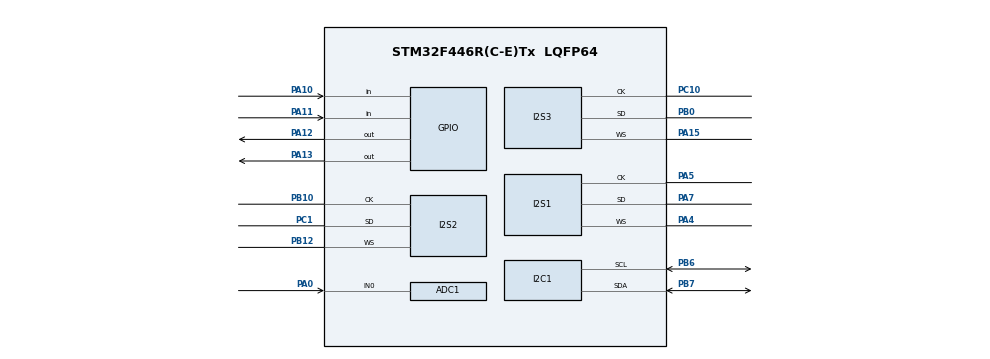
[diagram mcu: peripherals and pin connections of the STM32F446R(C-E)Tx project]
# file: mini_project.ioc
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ADC1.Channel-0\#ChannelRegularConversion=ADC_CHANNEL_0
ADC1.NbrOfConversionFlag=1
ADC1.Rank-0\#ChannelRegularConversion=1
ADC1.SamplingTime-0\#ChannelRegularConversion=ADC_SAMPLETIME_3CYCLES
ADC1.master=1
I2S1.ErrorAudioFreq=- %
I2S1.FullDuplexMode=I2S_FULLDUPLEXMODE_DISABLE
I2S1.Instance=SPI$Index
I2S1.RealAudioFreq=- Hz
I2S1.VirtualMode=I2S_MODE_MASTER
I2S2.ErrorAudioFreq=- %
I2S2.FullDuplexMode=I2S_FULLDUPLEXMODE_DISABLE
I2S2.Instance=SPI$Index
I2S2.RealAudioFreq=- Hz
I2S2.VirtualMode=I2S_MODE_MASTER
I2S3.ErrorAudioFreq=- %
I2S3.FullDuplexMode=I2S_FULLDUPLEXMODE_DISABLE
I2S3.Instance=SPI$Index
I2S3.RealAudioFreq=- Hz
I2S3.VirtualMode=I2S_MODE_MASTER
Mcu.Family=STM32F4
Mcu.Name=STM32F446R(C-E)Tx
Mcu.Package=LQFP64
NVIC.PriorityGroup=NVIC_PRIORITYGROUP_4
PA0-WKUP.Signal=ADCx_IN0
PA10.Signal=GPIO_Input
PA11.Signal=GPIO_Input
PA12.Signal=GPIO_Output
PA13.Signal=GPIO_Output
PA15.Mode=Half_Duplex_Master
PA15.Signal=I2S3_WS
PA4.Mode=Half_Duplex_Master
PA4.Signal=I2S1_WS
PA5.Mode=Half_Duplex_Master
PA5.Signal=I2S1_CK
PA7.Mode=Half_Duplex_Master
PA7.Signal=I2S1_SD
PB0.Mode=Half_Duplex_Master
PB0.Signal=I2S3_SD
PB10.Mode=Half_Duplex_Master
PB10.Signal=I2S2_CK
PB12.Mode=Half_Duplex_Master
PB12.Signal=I2S2_WS
PB6.Mode=I2C
PB6.Signal=I2C1_SCL
PB7.Mode=I2C
PB7.Signal=I2C1_SDA
PC1.Mode=Half_Duplex_Master
PC1.Signal=I2S2_SD
PC10.Mode=Half_Duplex_Master
PC10.Signal=I2S3_CK
PH0-OSC_IN.Mode=HSE-External-Oscillator
PH0-OSC_IN.Signal=RCC_OSC_IN
PH1-OSC_OUT.Mode=HSE-External-Oscillator
PH1-OSC_OUT.Signal=RCC_OSC_OUT
ProjectManager.HeapSize=0x200
ProjectManager.StackSize=0x400
ProjectManager.TargetToolchain=STM32CubeIDE
RCC.CortexFreq_Value=16000000
RCC.PLLSourceVirtual=RCC_PLLSOURCE_HSE
RCC.USBFreq_Value=150000000
RCC.VCOOutputFreq_Value=300000000
SH.ADCx_IN0.0=ADC1_IN0,IN0
board=custom

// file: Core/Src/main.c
/* USER CODE BEGIN Header */
/**
  ******************************************************************************
  * @file           : main.c
  * @brief          : Multi Sensor Safety System
  *
  * Sensors:
  * DHT11       -> PA12
  * MQ Sensor   -> PA0 / ADC1_IN0
  * Fire Sensor -> PA10
  * Ultrasonic  -> PA5 TRIG / PA4 ECHO
  *
  * OLED:
  * I2C1 SCL -> PB6
  * I2C1 SDA -> PB7
  *
  * Relay:
  * Relay -> PA13
  *
  * Relay Logic:
  * NORMAL -> Relay ON  -> COM-NO -> GREEN
  * DANGER -> Relay OFF -> COM-NC -> RED
  ******************************************************************************
  */
/* USER CODE END Header */
#include "main.h"

ADC_HandleTypeDef hadc1;

I2C_HandleTypeDef hi2c1;

I2S_HandleTypeDef hi2s1;
I2S_HandleTypeDef hi2s2;
I2S_HandleTypeDef hi2s3;

/* USER CODE BEGIN PV */

uint8_t dht_temperature = 0;
uint8_t dht_humidity = 0;

uint32_t mq_value = 0;

uint8_t fire_detected = 0;
uint8_t object_detected = 0;
uint8_t danger = 0;

uint32_t distance = 0;

/* USER CODE END PV */

void SystemClock_Config(void);
void PeriphCommonClock_Config(void);
static void MX_GPIO_Init(void);
static void MX_ADC1_Init(void);
static void MX_I2S1_Init(void);
static void MX_I2S2_Init(void);
static void MX_I2S3_Init(void);
static void MX_I2C1_Init(void);

/* USER CODE BEGIN 0 */

/* ============================================================
   MICROSECOND DELAY
   Simple delay using CPU cycles
   ============================================================ */

void delay_us(uint32_t us)
{
    uint32_t count;

    while(us--)
    {
        count = 16;

        while(count--)
        {
            __NOP();
        }
    }
}

/* ============================================================
   MQ GAS SENSOR
   PA0 -> ADC1_IN0
   ============================================================ */

uint32_t MQ_Read(void)
{
    uint32_t value;

    HAL_ADC_Start(&hadc1);

    HAL_ADC_PollForConversion(&hadc1, 100);

    value = HAL_ADC_GetValue(&hadc1);

    HAL_ADC_Stop(&hadc1);

    return value;
}

/* ============================================================
   DHT11
   PA12
   ============================================================ */

uint8_t DHT11_Read(uint8_t *temperature, uint8_t *humidity)
{
    uint8_t data[5] = {0};

    uint8_t i;
    uint8_t j;

    GPIO_InitTypeDef GPIO_InitStruct = {0};

    /* PA12 OUTPUT */

    GPIO_InitStruct.Pin = GPIO_PIN_12;
    GPIO_InitStruct.Mode = GPIO_MODE_OUTPUT_PP;
    GPIO_InitStruct.Pull = GPIO_PULLUP;
    GPIO_InitStruct.Speed = GPIO_SPEED_FREQ_LOW;

    HAL_GPIO_Init(GPIOA, &GPIO_InitStruct);

    /* Start signal */

    HAL_GPIO_WritePin(GPIOA, GPIO_PIN_12, GPIO_PIN_RESET);

    HAL_Delay(20);

    HAL_GPIO_WritePin(GPIOA, GPIO_PIN_12, GPIO_PIN_SET);

    delay_us(30);

    /* PA12 INPUT */

    GPIO_InitStruct.Pin = GPIO_PIN_12;
    GPIO_InitStruct.Mode = GPIO_MODE_INPUT;
    GPIO_InitStruct.Pull = GPIO_PULLUP;

    HAL_GPIO_Init(GPIOA, &GPIO_InitStruct);

    /* Wait for DHT11 response */

    uint32_t timeout = HAL_GetTick();

    while(HAL_GPIO_ReadPin(GPIOA, GPIO_PIN_12) == GPIO_PIN_SET)
    {
        if((HAL_GetTick() - timeout) > 2)
            return 0;
    }

    timeout = HAL_GetTick();

    while(HAL_GPIO_ReadPin(GPIOA, GPIO_PIN_12) == GPIO_PIN_RESET)
    {
        if((HAL_GetTick() - timeout) > 2)
            return 0;
    }

    timeout = HAL_GetTick();

    while(HAL_GPIO_ReadPin(GPIOA, GPIO_PIN_12) == GPIO_PIN_SET)
    {
        if((HAL_GetTick() - timeout) > 2)
            return 0;
    }

    /* Read 40 bits */

    for(j = 0; j < 5; j++)
    {
        for(i = 0; i < 8; i++)
        {
            timeout = HAL_GetTick();

            while(HAL_GPIO_ReadPin(GPIOA, GPIO_PIN_12) == GPIO_PIN_RESET)
            {
                if((HAL_GetTick() - timeout) > 2)
                    return 0;
            }

            delay_us(40);

            if(HAL_GPIO_ReadPin(GPIOA, GPIO_PIN_12) == GPIO_PIN_SET)
            {
                data[j] |= (1 << (7 - i));
            }

            timeout = HAL_GetTick();

            while(HAL_GPIO_ReadPin(GPIOA, GPIO_PIN_12) == GPIO_PIN_SET)
            {
                if((HAL_GetTick() - timeout) > 2)
                    return 0;
            }
        }
    }

    /* Check checksum */

    if(data[4] !=
       (uint8_t)(data[0] + data[1] + data[2] + data[3]))
    {
        return 0;
    }

    *humidity = data[0];
    *temperature = data[2];

    return 1;
}

/* ============================================================
   FIRE SENSOR
   PA10
   Most flame modules are ACTIVE LOW
   ============================================================ */

uint8_t Fire_Read(void)
{
    if(HAL_GPIO_ReadPin(GPIOA, GPIO_PIN_10) == GPIO_PIN_RESET)
    {
        return 1;
    }

    return 0;
}

/* ============================================================
   ULTRASONIC SENSOR
   PA5 -> TRIG
   PA4 -> ECHO
   ============================================================ */

uint32_t Ultrasonic_Read(void)
{
    uint32_t start;
    uint32_t stop;
    uint32_t pulse;

    /* Trigger LOW */

    HAL_GPIO_WritePin(GPIOA, GPIO_PIN_5, GPIO_PIN_RESET);

    delay_us(2);

    /* Trigger HIGH */

    HAL_GPIO_WritePin(GPIOA, GPIO_PIN_5, GPIO_PIN_SET);

    delay_us(10);

    HAL_GPIO_WritePin(GPIOA, GPIO_PIN_5, GPIO_PIN_RESET);

    /* Wait for ECHO HIGH */

    uint32_t timeout = HAL_GetTick();

    while(HAL_GPIO_ReadPin(GPIOA, GPIO_PIN_4) == GPIO_PIN_RESET)
    {
        if((HAL_GetTick() - timeout) > 30)
        {
            return 999;
        }
    }

    start = HAL_GetTick();

    /* Wait for ECHO LOW */

    timeout = HAL_GetTick();

    while(HAL_GPIO_ReadPin(GPIOA, GPIO_PIN_4) == GPIO_PIN_SET)
    {
        if((HAL_GetTick() - timeout) > 30)
        {
            return 999;
        }
    }

    stop = HAL_GetTick();

    pulse = stop - start;

    /*
     * Approximate distance.
     *
     * This method is not highly accurate because
     * HAL_GetTick() has millisecond resolution.
     */* USER CODE BEGIN Header */
/**
  ******************************************************************************
  * @file           : main.c
  * @brief          : Multi Sensor Safety System
  *
  * Sensors:
  * DHT11       -> PA12
  * MQ Sensor   -> PA0 / ADC1_IN0
  * Fire Sensor -> PA10
  * Ultrasonic  -> PA5 TRIG / PA4 ECHO
  *
  * OLED:
  * I2C1 SCL -> PB6
  * I2C1 SDA -> PB7
  *
  * Relay:
  * Relay -> PA13
  *
  * Relay Logic:
  * NORMAL -> Relay ON  -> COM-NO -> GREEN
  * DANGER -> Relay OFF -> COM-NC -> RED
  ******************************************************************************
  */
/* USER CODE END Header */
/* Includes ------------------------------------------------------------------*/
#include "main.h"

/* Private includes ----------------------------------------------------------*/
/* USER CODE BEGIN Includes */

/* USER CODE END Includes */

/* Private typedef -----------------------------------------------------------*/
/* USER CODE BEGIN PTD */

/* USER CODE END PTD */

/* Private define ------------------------------------------------------------*/
/* USER CODE BEGIN PD */

/* USER CODE END PD */

/* Private macro -------------------------------------------------------------*/
/* USER CODE BEGIN PM */

/* USER CODE END PM */

/* Private variables ---------------------------------------------------------*/
ADC_HandleTypeDef hadc1;

I2C_HandleTypeDef hi2c1;

I2S_HandleTypeDef hi2s1;
I2S_HandleTypeDef hi2s2;
I2S_HandleTypeDef hi2s3;/* USER CODE BEGIN Header */
/**
  ******************************************************************************
  * @file           : main.c
  * @brief          : Multi Sensor Safety System
  *
  * Sensors:
  * DHT11       -> PA12
  * MQ Sensor   -> PA0 / ADC1_IN0
  * Fire Sensor -> PA10
  * Ultrasonic  -> PA5 TRIG / PA4 ECHO
  *
  * OLED:
  * I2C1 SCL -> PB6
  * I2C1 SDA -> PB7
  *
  * Relay:
  * Relay -> PA13
  *
  * Relay Logic:
  * NORMAL -> Relay ON  -> COM-NO -> GREEN
  * DANGER -> Relay OFF -> COM-NC -> RED
  ******************************************************************************
  */
/* USER CODE END Header */
/* Includes ------------------------------------------------------------------*/
#include "main.h"

/* Private includes ----------------------------------------------------------*/
/* USER CODE BEGIN Includes */

/* USER CODE END Includes */

/* Private typedef -----------------------------------------------------------*/
/* USER CODE BEGIN PTD */

/* USER CODE END PTD */

/* Private define ------------------------------------------------------------*/
/* USER CODE BEGIN PD */

/* USER CODE END PD */

/* Private macro -------------------------------------------------------------*/
/* USER CODE BEGIN PM */

/* USER CODE END PM */

/* Private variables ---------------------------------------------------------*/
ADC_HandleTypeDef hadc1;

I2C_HandleTypeDef hi2c1;

I2S_HandleTypeDef hi2s1;
I2S_HandleTypeDef hi2s2;
I2S_HandleTypeDef hi2s3;

/* USER CODE BEGIN PV */

uint8_t dht_temperature = 0;
uint8_t dht_humidity = 0;

uint32_t mq_value = 0;

uint8_t fire_detected = 0;
uint8_t object_detected = 0;
uint8_t danger = 0;

uint32_t distance = 0;

/* USER CODE END PV */

/* Private function prototypes -----------------------------------------------*/
void SystemClock_Config(void);
void PeriphCommonClock_Config(void);
static void MX_GPIO_Init(void);
static void MX_ADC1_Init(void);
static void MX_I2S1_Init(void);
static void MX_I2S2_Init(void);
static void MX_I2S3_Init(void);
static void MX_I2C1_Init(void);
/* USER CODE BEGIN PFP */

/* USER CODE END PFP */

/* Private user code ---------------------------------------------------------*/
/* USER CODE BEGIN 0 */

/* ============================================================
   MICROSECOND DELAY
   Simple delay using CPU cycles
   ============================================================ */

void delay_us(uint32_t us)
{
    uint32_t count;

    while(us--)
    {
        count = 16;

        while(count--)
        {
            __NOP();
        }
    }
}

/* ============================================================
   MQ GAS SENSOR
   PA0 -> ADC1_IN0
   ============================================================ */

uint32_t MQ_Read(void)
{
    uint32_t value;

    HAL_ADC_Start(&hadc1);

    HAL_ADC_PollForConversion(&hadc1, 100);

    value = HAL_ADC_GetValue(&hadc1);

    HAL_ADC_Stop(&hadc1);

    return value;
}

/* ============================================================
   DHT11
   PA12
   ============================================================ */

uint8_t DHT11_Read(uint8_t *temperature, uint8_t *humidity)
{
    uint8_t data[5] = {0};

    uint8_t i;
    uint8_t j;

    GPIO_InitTypeDef GPIO_InitStruct = {0};

    /* PA12 OUTPUT */

    GPIO_InitStruct.Pin = GPIO_PIN_12;
    GPIO_InitStruct.Mode = GPIO_MODE_OUTPUT_PP;
    GPIO_InitStruct.Pull = GPIO_PULLUP;
    GPIO_InitStruct.Speed = GPIO_SPEED_FREQ_LOW;

    HAL_GPIO_Init(GPIOA, &GPIO_InitStruct);

    /* Start signal */

    HAL_GPIO_WritePin(GPIOA, GPIO_PIN_12, GPIO_PIN_RESET);

    HAL_Delay(20);

    HAL_GPIO_WritePin(GPIOA, GPIO_PIN_12, GPIO_PIN_SET);

    delay_us(30);

    /* PA12 INPUT */

    GPIO_InitStruct.Pin = GPIO_PIN_12;
    GPIO_InitStruct.Mode = GPIO_MODE_INPUT;
    GPIO_InitStruct.Pull = GPIO_PULLUP;

    HAL_GPIO_Init(GPIOA, &GPIO_InitStruct);

    /* Wait for DHT11 response */

    uint32_t timeout = HAL_GetTick();

    while(HAL_GPIO_ReadPin(GPIOA, GPIO_PIN_12) == GPIO_PIN_SET)
    {
        if((HAL_GetTick() - timeout) > 2)
            return 0;
    }

    timeout = HAL_GetTick();

    while(HAL_GPIO_ReadPin(GPIOA, GPIO_PIN_12) == GPIO_PIN_RESET)
    {
        if((HAL_GetTick() - timeout) > 2)
            return 0;
    }

    timeout = HAL_GetTick();

    while(HAL_GPIO_ReadPin(GPIOA, GPIO_PIN_12) == GPIO_PIN_SET)
    {
        if((HAL_GetTick() - timeout) > 2)
            return 0;
    }

    /* Read 40 bits */

    for(j = 0; j < 5; j++)
    {
        for(i = 0; i < 8; i++)
        {
            timeout = HAL_GetTick();

            while(HAL_GPIO_ReadPin(GPIOA, GPIO_PIN_12) == GPIO_PIN_RESET)
            {
                if((HAL_GetTick() - timeout) > 2)
                    return 0;
            }

            delay_us(40);

            if(HAL_GPIO_ReadPin(GPIOA, GPIO_PIN_12) == GPIO_PIN_SET)
            {
                data[j] |= (1 << (7 - i));
            }

            timeout = HAL_GetTick();

            while(HAL_GPIO_ReadPin(GPIOA, GPIO_PIN_12) == GPIO_PIN_SET)
            {
                if((HAL_GetTick() - timeout) > 2)
                    return 0;
            }
        }
    }

    /* Check checksum */

    if(data[4] !=
       (uint8_t)(data[0] + data[1] + data[2] + data[3]))
    {
        return 0;
    }

    *humidity = data[0];
    *temperature = data[2];

    return 1;
}

/* ============================================================
   FIRE SENSOR
   PA10
   Most flame modules are ACTIVE LOW
   ============================================================ */

uint8_t Fire_Read(void)
{
    if(HAL_GPIO_ReadPin(GPIOA, GPIO_PIN_10) == GPIO_PIN_RESET)
    {
        return 1;
    }

    return 0;
}

/* ============================================================
   ULTRASONIC SENSOR
   PA5 -> TRIG
   PA4 -> ECHO
   ============================================================ */

uint32_t Ultrasonic_Read(void)
{
    uint32_t start;
    uint32_t stop;
    uint32_t pulse;

    /* Trigger LOW */

    HAL_GPIO_WritePin(GPIOA, GPIO_PIN_5, GPIO_PIN_RESET);

    delay_us(2);

    /* Trigger HIGH */

    HAL_GPIO_WritePin(GPIOA, GPIO_PIN_5, GPIO_PIN_SET);

    delay_us(10);

    HAL_GPIO_WritePin(GPIOA, GPIO_PIN_5, GPIO_PIN_RESET);

    /* Wait for ECHO HIGH */

    uint32_t timeout = HAL_GetTick();

    while(HAL_GPIO_ReadPin(GPIOA, GPIO_PIN_4) == GPIO_PIN_RESET)
    {
        if((HAL_GetTick() - timeout) > 30)
        {
            return 999;
        }
    }

    start = HAL_GetTick();

    /* Wait for ECHO LOW */

    timeout = HAL_GetTick();

    while(HAL_GPIO_ReadPin(GPIOA, GPIO_PIN_4) == GPIO_PIN_SET)
    {
        if((HAL_GetTick() - timeout) > 30)
        {
            return 999;
        }
    }

    stop = HAL_GetTick();

    pulse = stop - start;

    /*
     * Approximate distance.
     *
     * This method is not highly accurate because
     * HAL_GetTick() has millisecond resolution.
     *
     * For final hardware use, configure a timer
     * with 1 MHz resolution.
     */

    if(pulse == 0)
        return 999;

    return pulse / 2;
}

/* ============================================================
   RELAY NORMAL
   Relay ON
   COM -> NO
   Green LED connected to NO
   ============================================================ */

void Relay_Normal(void)
{
    HAL_GPIO_WritePin(
        GPIOA,
        GPIO_PIN_13,
        GPIO_PIN_SET
    );
}

/* ============================================================
   RELAY DANGER
   Relay OFF
   COM -> NC
   Red LED connected to NC
   ============================================================ */

void Relay_Danger(void)
{
    HAL_GPIO_WritePin(
        GPIOA,
        GPIO_PIN_13,
        GPIO_PIN_RESET
    );
}

/* USER CODE END 0 */

int main(void)
{

  /* MCU Configuration--------------------------------------------------------*/

  /* Reset of all peripherals, Initializes the Flash interface and the Systick. */
  HAL_Init();

  /* Configure the system clock */
  SystemClock_Config();

  /* Configure the peripherals common clocks */
  PeriphCommonClock_Config();

  /* Initialize all configured peripherals */
  MX_GPIO_Init();
  MX_ADC1_Init();
  MX_I2S1_Init();
  MX_I2S2_Init();
  MX_I2S3_Init();
  MX_I2C1_Init();
  /* USER CODE BEGIN 2 */

    /*
     * Start system in NORMAL condition.
     */

    Relay_Normal();

  /* USER CODE END 2 */

  /* Infinite loop */
  while (1)
  {

  }
}

void SystemClock_Config(void)
{
  RCC_OscInitTypeDef RCC_OscInitStruct = {0};
  RCC_ClkInitTypeDef RCC_ClkInitStruct = {0};

  /** Macro to configure the PLL multiplication factor
  */
  __HAL_RCC_PLL_PLLM_CONFIG(16);

  /** Macro to configure the PLL clock source
  */
  __HAL_RCC_PLL_PLLSOURCE_CONFIG(RCC_PLLSOURCE_HSE);

  /** Configure the main internal regulator output voltage
  */
  __HAL_RCC_PWR_CLK_ENABLE();
  __HAL_PWR_VOLTAGESCALING_CONFIG(PWR_REGULATOR_VOLTAGE_SCALE3);

  /** Initializes the RCC Oscillators according to the specified parameters
  * in the RCC_OscInitTypeDef structure.
  */
  RCC_OscInitStruct.OscillatorType = RCC_OSCILLATORTYPE_HSI|RCC_OSCILLATORTYPE_HSE;
  RCC_OscInitStruct.HSEState = RCC_HSE_ON;
  RCC_OscInitStruct.HSIState = RCC_HSI_ON;
  RCC_OscInitStruct.HSICalibrationValue = RCC_HSICALIBRATION_DEFAULT;
  RCC_OscInitStruct.PLL.PLLState = RCC_PLL_NONE;
  RCC_OscInitStruct.PLL.PLLSource = RCC_PLLSOURCE_HSE;
  if (HAL_RCC_OscConfig(&RCC_OscInitStruct) != HAL_OK)
  {
    Error_Handler();
  }

  /** Initializes the CPU, AHB and APB buses clocks
  */
  RCC_ClkInitStruct.ClockType = RCC_CLOCKTYPE_HCLK|RCC_CLOCKTYPE_SYSCLK
                              |RCC_CLOCKTYPE_PCLK1|RCC_CLOCKTYPE_PCLK2;
  RCC_ClkInitStruct.SYSCLKSource = RCC_SYSCLKSOURCE_HSI;
  RCC_ClkInitStruct.AHBCLKDivider = RCC_SYSCLK_DIV1;
  RCC_ClkInitStruct.APB1CLKDivider = RCC_HCLK_DIV1;
  RCC_ClkInitStruct.APB2CLKDivider = RCC_HCLK_DIV1;

  if (HAL_RCC_ClockConfig(&RCC_ClkInitStruct, FLASH_LATENCY_0) != HAL_OK)
  {
    Error_Handler();
  }
}

void PeriphCommonClock_Config(void)
{
  RCC_PeriphCLKInitTypeDef PeriphClkInitStruct = {0};

  /** Initializes the peripherals clock
  */
  PeriphClkInitStruct.PeriphClockSelection = RCC_PERIPHCLK_I2S_APB1|RCC_PERIPHCLK_I2S_APB2;
  PeriphClkInitStruct.PLLI2S.PLLI2SN = 192;
  PeriphClkInitStruct.PLLI2S.PLLI2SP = RCC_PLLI2SP_DIV2;
  PeriphClkInitStruct.PLLI2S.PLLI2SM = 16;
  PeriphClkInitStruct.PLLI2S.PLLI2SR = 2;
  PeriphClkInitStruct.PLLI2S.PLLI2SQ = 2;
  PeriphClkInitStruct.PLLI2SDivQ = 1;
  PeriphClkInitStruct.I2sApb2ClockSelection = RCC_I2SAPB2CLKSOURCE_PLLI2S;
  PeriphClkInitStruct.I2sApb1ClockSelection = RCC_I2SAPB1CLKSOURCE_PLLI2S;
  if (HAL_RCCEx_PeriphCLKConfig(&PeriphClkInitStruct) != HAL_OK)
  {
    Error_Handler();
  }
}

static void MX_ADC1_Init(void)
{

  ADC_ChannelConfTypeDef sConfig = {0};

  /** Configure the global features of the ADC (Clock, Resolution, Data Alignment and number of conversion)
  */
  hadc1.Instance = ADC1;
  hadc1.Init.ClockPrescaler = ADC_CLOCK_SYNC_PCLK_DIV2;
  hadc1.Init.Resolution = ADC_RESOLUTION_12B;
  hadc1.Init.ScanConvMode = DISABLE;
  hadc1.Init.ContinuousConvMode = DISABLE;
  hadc1.Init.DiscontinuousConvMode = DISABLE;
  hadc1.Init.ExternalTrigConvEdge = ADC_EXTERNALTRIGCONVEDGE_NONE;
  hadc1.Init.ExternalTrigConv = ADC_SOFTWARE_START;
  hadc1.Init.DataAlign = ADC_DATAALIGN_RIGHT;
  hadc1.Init.NbrOfConversion = 1;
  hadc1.Init.DMAContinuousRequests = DISABLE;
  hadc1.Init.EOCSelection = ADC_EOC_SINGLE_CONV;
  if (HAL_ADC_Init(&hadc1) != HAL_OK)
  {
    Error_Handler();
  }

  /** Configure for the selected ADC regular channel its corresponding rank in the sequencer and its sample time.
  */
  sConfig.Channel = ADC_CHANNEL_0;
  sConfig.Rank = 1;
  sConfig.SamplingTime = ADC_SAMPLETIME_3CYCLES;
  if (HAL_ADC_ConfigChannel(&hadc1, &sConfig) != HAL_OK)
  {
    Error_Handler();
  }

}

static void MX_I2C1_Init(void)
{

  hi2c1.Instance = I2C1;
  hi2c1.Init.ClockSpeed = 100000;
  hi2c1.Init.DutyCycle = I2C_DUTYCYCLE_2;
  hi2c1.Init.OwnAddress1 = 0;
  hi2c1.Init.AddressingMode = I2C_ADDRESSINGMODE_7BIT;
  hi2c1.Init.DualAddressMode = I2C_DUALADDRESS_DISABLE;
  hi2c1.Init.OwnAddress2 = 0;
  hi2c1.Init.GeneralCallMode = I2C_GENERALCALL_DISABLE;
  hi2c1.Init.NoStretchMode = I2C_NOSTRETCH_DISABLE;
  if (HAL_I2C_Init(&hi2c1) != HAL_OK)
  {
    Error_Handler();
  }

}

static void MX_I2S1_Init(void)
{

  hi2s1.Instance = SPI1;
  hi2s1.Init.Mode = I2S_MODE_MASTER_TX;
  hi2s1.Init.Standard = I2S_STANDARD_PHILIPS;
  hi2s1.Init.DataFormat = I2S_DATAFORMAT_16B;
  hi2s1.Init.MCLKOutput = I2S_MCLKOUTPUT_DISABLE;
  hi2s1.Init.AudioFreq = I2S_AUDIOFREQ_8K;
  hi2s1.Init.CPOL = I2S_CPOL_LOW;
  hi2s1.Init.ClockSource = I2S_CLOCK_PLL;
  hi2s1.Init.FullDuplexMode = I2S_FULLDUPLEXMODE_DISABLE;
  if (HAL_I2S_Init(&hi2s1) != HAL_OK)
  {
    Error_Handler();
  }

}

static void MX_I2S2_Init(void)
{

  hi2s2.Instance = SPI2;
  hi2s2.Init.Mode = I2S_MODE_MASTER_TX;
  hi2s2.Init.Standard = I2S_STANDARD_PHILIPS;
  hi2s2.Init.DataFormat = I2S_DATAFORMAT_16B;
  hi2s2.Init.MCLKOutput = I2S_MCLKOUTPUT_DISABLE;
  hi2s2.Init.AudioFreq = I2S_AUDIOFREQ_8K;
  hi2s2.Init.CPOL = I2S_CPOL_LOW;
  hi2s2.Init.ClockSource = I2S_CLOCK_PLL;
  hi2s2.Init.FullDuplexMode = I2S_FULLDUPLEXMODE_DISABLE;
  if (HAL_I2S_Init(&hi2s2) != HAL_OK)
  {
    Error_Handler();
  }

}

static void MX_I2S3_Init(void)
{

  hi2s3.Instance = SPI3;
  hi2s3.Init.Mode = I2S_MODE_MASTER_TX;
  hi2s3.Init.Standard = I2S_STANDARD_PHILIPS;
  hi2s3.Init.DataFormat = I2S_DATAFORMAT_16B;
  hi2s3.Init.MCLKOutput = I2S_MCLKOUTPUT_DISABLE;
  hi2s3.Init.AudioFreq = I2S_AUDIOFREQ_8K;
  hi2s3.Init.CPOL = I2S_CPOL_LOW;
  hi2s3.Init.ClockSource = I2S_CLOCK_PLL;
  hi2s3.Init.FullDuplexMode = I2S_FULLDUPLEXMODE_DISABLE;
  if (HAL_I2S_Init(&hi2s3) != HAL_OK)
  {
    Error_Handler();
  }

}

static void MX_GPIO_Init(void)
{
  GPIO_InitTypeDef GPIO_InitStruct = {0};

  /* GPIO Ports Clock Enable */
  __HAL_RCC_GPIOH_CLK_ENABLE();
  __HAL_RCC_GPIOC_CLK_ENABLE();
  __HAL_RCC_GPIOA_CLK_ENABLE();
  __HAL_RCC_GPIOB_CLK_ENABLE();

  /*Configure GPIO pin Output Level */
  HAL_GPIO_WritePin(GPIOA, GPIO_PIN_12|GPIO_PIN_13, GPIO_PIN_RESET);

  /*Configure GPIO pins : PA10 PA11 */
  GPIO_InitStruct.Pin = GPIO_PIN_10|GPIO_PIN_11;
  GPIO_InitStruct.Mode = GPIO_MODE_INPUT;
  GPIO_InitStruct.Pull = GPIO_NOPULL;
  HAL_GPIO_Init(GPIOA, &GPIO_InitStruct);

  /*Configure GPIO pins : PA12 PA13 */
  GPIO_InitStruct.Pin = GPIO_PIN_12|GPIO_PIN_13;
  GPIO_InitStruct.Mode = GPIO_MODE_OUTPUT_PP;
  GPIO_InitStruct.Pull = GPIO_NOPULL;
  GPIO_InitStruct.Speed = GPIO_SPEED_FREQ_LOW;
  HAL_GPIO_Init(GPIOA, &GPIO_InitStruct);

}

void Error_Handler(void)
{
  __disable_irq();
  while (1)
  {
  }
}

/* USER CODE BEGIN PV */

uint8_t dht_temperature = 0;
uint8_t dht_humidity = 0;

uint32_t mq_value = 0;

uint8_t fire_detected = 0;
uint8_t object_detected = 0;
uint8_t danger = 0;

uint32_t distance = 0;

/* USER CODE END PV */

void SystemClock_Config(void);
void PeriphCommonClock_Config(void);
static void MX_GPIO_Init(void);
static void MX_ADC1_Init(void);
static void MX_I2S1_Init(void);
static void MX_I2S2_Init(void);
static void MX_I2S3_Init(void);
static void MX_I2C1_Init(void);

/* USER CODE BEGIN 0 */

/* ============================================================
   MICROSECOND DELAY
   Simple delay using CPU cycles
   ============================================================ */

void delay_us(uint32_t us)
{
    uint32_t count;

    while(us--)
    {
        count = 16;

        while(count--)
        {
            __NOP();
        }
    }
}

/* ============================================================
   MQ GAS SENSOR
   PA0 -> ADC1_IN0
   ============================================================ */

uint32_t MQ_Read(void)
{
    uint32_t value;

    HAL_ADC_Start(&hadc1);

    HAL_ADC_PollForConversion(&hadc1, 100);

    value = HAL_ADC_GetValue(&hadc1);

    HAL_ADC_Stop(&hadc1);

    return value;
}

/* ============================================================
   DHT11
   PA12
   ============================================================ */

uint8_t DHT11_Read(uint8_t *temperature, uint8_t *humidity)
{
    uint8_t data[5] = {0};

    uint8_t i;
    uint8_t j;

    GPIO_InitTypeDef GPIO_InitStruct = {0};

    /* PA12 OUTPUT */

    GPIO_InitStruct.Pin = GPIO_PIN_12;
    GPIO_InitStruct.Mode = GPIO_MODE_OUTPUT_PP;
    GPIO_InitStruct.Pull = GPIO_PULLUP;
    GPIO_InitStruct.Speed = GPIO_SPEED_FREQ_LOW;

    HAL_GPIO_Init(GPIOA, &GPIO_InitStruct);

    /* Start signal */

    HAL_GPIO_WritePin(GPIOA, GPIO_PIN_12, GPIO_PIN_RESET);

    HAL_Delay(20);

    HAL_GPIO_WritePin(GPIOA, GPIO_PIN_12, GPIO_PIN_SET);

    delay_us(30);

    /* PA12 INPUT */

    GPIO_InitStruct.Pin = GPIO_PIN_12;
    GPIO_InitStruct.Mode = GPIO_MODE_INPUT;
    GPIO_InitStruct.Pull = GPIO_PULLUP;

    HAL_GPIO_Init(GPIOA, &GPIO_InitStruct);

    /* Wait for DHT11 response */

    uint32_t timeout = HAL_GetTick();

    while(HAL_GPIO_ReadPin(GPIOA, GPIO_PIN_12) == GPIO_PIN_SET)
    {
        if((HAL_GetTick() - timeout) > 2)
            return 0;
    }

    timeout = HAL_GetTick();

    while(HAL_GPIO_ReadPin(GPIOA, GPIO_PIN_12) == GPIO_PIN_RESET)
    {
        if((HAL_GetTick() - timeout) > 2)
            return 0;
    }

    timeout = HAL_GetTick();

    while(HAL_GPIO_ReadPin(GPIOA, GPIO_PIN_12) == GPIO_PIN_SET)
    {
        if((HAL_GetTick() - timeout) > 2)
            return 0;
    }

    /* Read 40 bits */

    for(j = 0; j < 5; j++)
    {
        for(i = 0; i < 8; i++)
        {
            timeout = HAL_GetTick();

            while(HAL_GPIO_ReadPin(GPIOA, GPIO_PIN_12) == GPIO_PIN_RESET)
            {
                if((HAL_GetTick() - timeout) > 2)
                    return 0;
            }

            delay_us(40);

            if(HAL_GPIO_ReadPin(GPIOA, GPIO_PIN_12) == GPIO_PIN_SET)
            {
                data[j] |= (1 << (7 - i));
            }

            timeout = HAL_GetTick();

            while(HAL_GPIO_ReadPin(GPIOA, GPIO_PIN_12) == GPIO_PIN_SET)
            {
                if((HAL_GetTick() - timeout) > 2)
                    return 0;
            }
        }
    }

    /* Check checksum */

    if(data[4] !=
       (uint8_t)(data[0] + data[1] + data[2] + data[3]))
    {
        return 0;
    }

    *humidity = data[0];
    *temperature = data[2];

    return 1;
}

/* ============================================================
   FIRE SENSOR
   PA10
   Most flame modules are ACTIVE LOW
   ============================================================ */

uint8_t Fire_Read(void)
{
    if(HAL_GPIO_ReadPin(GPIOA, GPIO_PIN_10) == GPIO_PIN_RESET)
    {
        return 1;
    }

    return 0;
}

/* ============================================================
   ULTRASONIC SENSOR
   PA5 -> TRIG
   PA4 -> ECHO
   ============================================================ */

uint32_t Ultrasonic_Read(void)
{
    uint32_t start;
    uint32_t stop;
    uint32_t pulse;

    /* Trigger LOW */

    HAL_GPIO_WritePin(GPIOA, GPIO_PIN_5, GPIO_PIN_RESET);

    delay_us(2);

    /* Trigger HIGH */

    HAL_GPIO_WritePin(GPIOA, GPIO_PIN_5, GPIO_PIN_SET);

    delay_us(10);

    HAL_GPIO_WritePin(GPIOA, GPIO_PIN_5, GPIO_PIN_RESET);

    /* Wait for ECHO HIGH */

    uint32_t timeout = HAL_GetTick();

    while(HAL_GPIO_ReadPin(GPIOA, GPIO_PIN_4) == GPIO_PIN_RESET)
    {
        if((HAL_GetTick() - timeout) > 30)
        {
            return 999;
        }
    }

    start = HAL_GetTick();

    /* Wait for ECHO LOW */

    timeout = HAL_GetTick();

    while(HAL_GPIO_ReadPin(GPIOA, GPIO_PIN_4) == GPIO_PIN_SET)
    {
        if((HAL_GetTick() - timeout) > 30)
        {
            return 999;
        }
    }

    stop = HAL_GetTick();

    pulse = stop - start;

    /*
     * Approximate distance.
     *
     * This method is not highly accurate because
     * HAL_GetTick() has millisecond resolution.
     *
     * For final hardware use, configure a timer
     * with 1 MHz resolution.
     */

    if(pulse == 0)
        return 999;

    return pulse / 2;
}

/* ============================================================
   RELAY NORMAL
   Relay ON
   COM -> NO
   Green LED connected to NO
   ============================================================ */

void Relay_Normal(void)
{
    HAL_GPIO_WritePin(
        GPIOA,
        GPIO_PIN_13,
        GPIO_PIN_SET
    );
}

/* ============================================================
   RELAY DANGER
   Relay OFF
   COM -> NC
   Red LED connected to NC
   ============================================================ */

void Relay_Danger(void)
{
    HAL_GPIO_WritePin(
        GPIOA,
        GPIO_PIN_13,
        GPIO_PIN_RESET
    );
}

/* USER CODE END 0 */

int main(void)
{

  /* MCU Configuration--------------------------------------------------------*/

  /* Reset of all peripherals, Initializes the Flash interface and the Systick. */
  HAL_Init();

  /* Configure the system clock */
  SystemClock_Config();

  /* Configure the peripherals common clocks */
  PeriphCommonClock_Config();

  /* Initialize all configured peripherals */
  MX_GPIO_Init();
  MX_ADC1_Init();
  MX_I2S1_Init();
  MX_I2S2_Init();
  MX_I2S3_Init();
  MX_I2C1_Init();
  /* USER CODE BEGIN 2 */

    /*
     * Start system in NORMAL condition.
     */

    Relay_Normal();

  /* USER CODE END 2 */

  /* Infinite loop */
  while (1)
  {

  }
}

void SystemClock_Config(void)
{
  RCC_OscInitTypeDef RCC_OscInitStruct = {0};
  RCC_ClkInitTypeDef RCC_ClkInitStruct = {0};

  /** Macro to configure the PLL multiplication factor
  */
  __HAL_RCC_PLL_PLLM_CONFIG(16);

  /** Macro to configure the PLL clock source
  */
  __HAL_RCC_PLL_PLLSOURCE_CONFIG(RCC_PLLSOURCE_HSE);

  /** Configure the main internal regulator output voltage
  */
  __HAL_RCC_PWR_CLK_ENABLE();
  __HAL_PWR_VOLTAGESCALING_CONFIG(PWR_REGULATOR_VOLTAGE_SCALE3);

  /** Initializes the RCC Oscillators according to the specified parameters
  * in the RCC_OscInitTypeDef structure.
  */
  RCC_OscInitStruct.OscillatorType = RCC_OSCILLATORTYPE_HSI|RCC_OSCILLATORTYPE_HSE;
  RCC_OscInitStruct.HSEState = RCC_HSE_ON;
  RCC_OscInitStruct.HSIState = RCC_HSI_ON;
  RCC_OscInitStruct.HSICalibrationValue = RCC_HSICALIBRATION_DEFAULT;
  RCC_OscInitStruct.PLL.PLLState = RCC_PLL_NONE;
  RCC_OscInitStruct.PLL.PLLSource = RCC_PLLSOURCE_HSE;
  if (HAL_RCC_OscConfig(&RCC_OscInitStruct) != HAL_OK)
  {
    Error_Handler();
  }

  /** Initializes the CPU, AHB and APB buses clocks
  */
  RCC_ClkInitStruct.ClockType = RCC_CLOCKTYPE_HCLK|RCC_CLOCKTYPE_SYSCLK
                              |RCC_CLOCKTYPE_PCLK1|RCC_CLOCKTYPE_PCLK2;
  RCC_ClkInitStruct.SYSCLKSource = RCC_SYSCLKSOURCE_HSI;
  RCC_ClkInitStruct.AHBCLKDivider = RCC_SYSCLK_DIV1;
  RCC_ClkInitStruct.APB1CLKDivider = RCC_HCLK_DIV1;
  RCC_ClkInitStruct.APB2CLKDivider = RCC_HCLK_DIV1;

  if (HAL_RCC_ClockConfig(&RCC_ClkInitStruct, FLASH_LATENCY_0) != HAL_OK)
  {
    Error_Handler();
  }
}

void PeriphCommonClock_Config(void)
{
  RCC_PeriphCLKInitTypeDef PeriphClkInitStruct = {0};

  /** Initializes the peripherals clock
  */
  PeriphClkInitStruct.PeriphClockSelection = RCC_PERIPHCLK_I2S_APB1|RCC_PERIPHCLK_I2S_APB2;
  PeriphClkInitStruct.PLLI2S.PLLI2SN = 192;
  PeriphClkInitStruct.PLLI2S.PLLI2SP = RCC_PLLI2SP_DIV2;
  PeriphClkInitStruct.PLLI2S.PLLI2SM = 16;
  PeriphClkInitStruct.PLLI2S.PLLI2SR = 2;
  PeriphClkInitStruct.PLLI2S.PLLI2SQ = 2;
  PeriphClkInitStruct.PLLI2SDivQ = 1;
  PeriphClkInitStruct.I2sApb2ClockSelection = RCC_I2SAPB2CLKSOURCE_PLLI2S;
  PeriphClkInitStruct.I2sApb1ClockSelection = RCC_I2SAPB1CLKSOURCE_PLLI2S;
  if (HAL_RCCEx_PeriphCLKConfig(&PeriphClkInitStruct) != HAL_OK)
  {
    Error_Handler();
  }
}

static void MX_ADC1_Init(void)
{

  ADC_ChannelConfTypeDef sConfig = {0};

  /** Configure the global features of the ADC (Clock, Resolution, Data Alignment and number of conversion)
  */
  hadc1.Instance = ADC1;
  hadc1.Init.ClockPrescaler = ADC_CLOCK_SYNC_PCLK_DIV2;
  hadc1.Init.Resolution = ADC_RESOLUTION_12B;
  hadc1.Init.ScanConvMode = DISABLE;
  hadc1.Init.ContinuousConvMode = DISABLE;
  hadc1.Init.DiscontinuousConvMode = DISABLE;
  hadc1.Init.ExternalTrigConvEdge = ADC_EXTERNALTRIGCONVEDGE_NONE;
  hadc1.Init.ExternalTrigConv = ADC_SOFTWARE_START;
  hadc1.Init.DataAlign = ADC_DATAALIGN_RIGHT;
  hadc1.Init.NbrOfConversion = 1;
  hadc1.Init.DMAContinuousRequests = DISABLE;
  hadc1.Init.EOCSelection = ADC_EOC_SINGLE_CONV;
  if (HAL_ADC_Init(&hadc1) != HAL_OK)
  {
    Error_Handler();
  }

  /** Configure for the selected ADC regular channel its corresponding rank in the sequencer and its sample time.
  */
  sConfig.Channel = ADC_CHANNEL_0;
  sConfig.Rank = 1;
  sConfig.SamplingTime = ADC_SAMPLETIME_3CYCLES;
  if (HAL_ADC_ConfigChannel(&hadc1, &sConfig) != HAL_OK)
  {
    Error_Handler();
  }

}

static void MX_I2C1_Init(void)
{

  hi2c1.Instance = I2C1;
  hi2c1.Init.ClockSpeed = 100000;
  hi2c1.Init.DutyCycle = I2C_DUTYCYCLE_2;
  hi2c1.Init.OwnAddress1 = 0;
  hi2c1.Init.AddressingMode = I2C_ADDRESSINGMODE_7BIT;
  hi2c1.Init.DualAddressMode = I2C_DUALADDRESS_DISABLE;
  hi2c1.Init.OwnAddress2 = 0;
  hi2c1.Init.GeneralCallMode = I2C_GENERALCALL_DISABLE;
  hi2c1.Init.NoStretchMode = I2C_NOSTRETCH_DISABLE;
  if (HAL_I2C_Init(&hi2c1) != HAL_OK)
  {
    Error_Handler();
  }

}

static void MX_I2S1_Init(void)
{

  hi2s1.Instance = SPI1;
  hi2s1.Init.Mode = I2S_MODE_MASTER_TX;
  hi2s1.Init.Standard = I2S_STANDARD_PHILIPS;
  hi2s1.Init.DataFormat = I2S_DATAFORMAT_16B;
  hi2s1.Init.MCLKOutput = I2S_MCLKOUTPUT_DISABLE;
  hi2s1.Init.AudioFreq = I2S_AUDIOFREQ_8K;
  hi2s1.Init.CPOL = I2S_CPOL_LOW;
  hi2s1.Init.ClockSource = I2S_CLOCK_PLL;
  hi2s1.Init.FullDuplexMode = I2S_FULLDUPLEXMODE_DISABLE;
  if (HAL_I2S_Init(&hi2s1) != HAL_OK)
  {
    Error_Handler();
  }

}

static void MX_I2S2_Init(void)
{

  hi2s2.Instance = SPI2;
  hi2s2.Init.Mode = I2S_MODE_MASTER_TX;
  hi2s2.Init.Standard = I2S_STANDARD_PHILIPS;
  hi2s2.Init.DataFormat = I2S_DATAFORMAT_16B;
  hi2s2.Init.MCLKOutput = I2S_MCLKOUTPUT_DISABLE;
  hi2s2.Init.AudioFreq = I2S_AUDIOFREQ_8K;
  hi2s2.Init.CPOL = I2S_CPOL_LOW;
  hi2s2.Init.ClockSource = I2S_CLOCK_PLL;
  hi2s2.Init.FullDuplexMode = I2S_FULLDUPLEXMODE_DISABLE;
  if (HAL_I2S_Init(&hi2s2) != HAL_OK)
  {
    Error_Handler();
  }

}

static void MX_I2S3_Init(void)
{

  hi2s3.Instance = SPI3;
  hi2s3.Init.Mode = I2S_MODE_MASTER_TX;
  hi2s3.Init.Standard = I2S_STANDARD_PHILIPS;
  hi2s3.Init.DataFormat = I2S_DATAFORMAT_16B;
  hi2s3.Init.MCLKOutput = I2S_MCLKOUTPUT_DISABLE;
  hi2s3.Init.AudioFreq = I2S_AUDIOFREQ_8K;
  hi2s3.Init.CPOL = I2S_CPOL_LOW;
  hi2s3.Init.ClockSource = I2S_CLOCK_PLL;
  hi2s3.Init.FullDuplexMode = I2S_FULLDUPLEXMODE_DISABLE;
  if (HAL_I2S_Init(&hi2s3) != HAL_OK)
  {
    Error_Handler();
  }

}

static void MX_GPIO_Init(void)
{
  GPIO_InitTypeDef GPIO_InitStruct = {0};

  /* GPIO Ports Clock Enable */
  __HAL_RCC_GPIOH_CLK_ENABLE();
  __HAL_RCC_GPIOC_CLK_ENABLE();
  __HAL_RCC_GPIOA_CLK_ENABLE();
  __HAL_RCC_GPIOB_CLK_ENABLE();

  /*Configure GPIO pin Output Level */
  HAL_GPIO_WritePin(GPIOA, GPIO_PIN_12|GPIO_PIN_13, GPIO_PIN_RESET);

  /*Configure GPIO pins : PA10 PA11 */
  GPIO_InitStruct.Pin = GPIO_PIN_10|GPIO_PIN_11;
  GPIO_InitStruct.Mode = GPIO_MODE_INPUT;
  GPIO_InitStruct.Pull = GPIO_NOPULL;
  HAL_GPIO_Init(GPIOA, &GPIO_InitStruct);

  /*Configure GPIO pins : PA12 PA13 */
  GPIO_InitStruct.Pin = GPIO_PIN_12|GPIO_PIN_13;
  GPIO_InitStruct.Mode = GPIO_MODE_OUTPUT_PP;
  GPIO_InitStruct.Pull = GPIO_NOPULL;
  GPIO_InitStruct.Speed = GPIO_SPEED_FREQ_LOW;
  HAL_GPIO_Init(GPIOA, &GPIO_InitStruct);

}

void Error_Handler(void)
{
  __disable_irq();
  while (1)
  {
  }
}
     *
     * For final hardware use, configure a timer
     * with 1 MHz resolution.
     */

    if(pulse == 0)
        return 999;

    return pulse / 2;
}

/* ============================================================
   RELAY NORMAL
   Relay ON
   COM -> NO
   Green LED connected to NO
   ============================================================ */

void Relay_Normal(void)
{
    HAL_GPIO_WritePin(
        GPIOA,
        GPIO_PIN_13,
        GPIO_PIN_SET
    );
}

/* ============================================================
   RELAY DANGER
   Relay OFF
   COM -> NC
   Red LED connected to NC
   ============================================================ */

void Relay_Danger(void)
{
    HAL_GPIO_WritePin(
        GPIOA,
        GPIO_PIN_13,
        GPIO_PIN_RESET
    );
}

/* USER CODE END 0 */

int main(void)
{

  /* MCU Configuration--------------------------------------------------------*/

  /* Reset of all peripherals, Initializes the Flash interface and the Systick. */
  HAL_Init();

  /* Configure the system clock */
  SystemClock_Config();

  /* Configure the peripherals common clocks */
  PeriphCommonClock_Config();

  /* Initialize all configured peripherals */
  MX_GPIO_Init();
  MX_ADC1_Init();
  MX_I2S1_Init();
  MX_I2S2_Init();
  MX_I2S3_Init();
  MX_I2C1_Init();
  /* USER CODE BEGIN 2 */

    /*
     * Start system in NORMAL condition.
     */

    Relay_Normal();

  /* USER CODE END 2 */

  /* Infinite loop */
  while (1)
  {

  }
}

void SystemClock_Config(void)
{
  RCC_OscInitTypeDef RCC_OscInitStruct = {0};
  RCC_ClkInitTypeDef RCC_ClkInitStruct = {0};

  /** Macro to configure the PLL multiplication factor
  */
  __HAL_RCC_PLL_PLLM_CONFIG(16);

  /** Macro to configure the PLL clock source
  */
  __HAL_RCC_PLL_PLLSOURCE_CONFIG(RCC_PLLSOURCE_HSE);

  /** Configure the main internal regulator output voltage
  */
  __HAL_RCC_PWR_CLK_ENABLE();
  __HAL_PWR_VOLTAGESCALING_CONFIG(PWR_REGULATOR_VOLTAGE_SCALE3);

  /** Initializes the RCC Oscillators according to the specified parameters
  * in the RCC_OscInitTypeDef structure.
  */
  RCC_OscInitStruct.OscillatorType = RCC_OSCILLATORTYPE_HSI|RCC_OSCILLATORTYPE_HSE;
  RCC_OscInitStruct.HSEState = RCC_HSE_ON;
  RCC_OscInitStruct.HSIState = RCC_HSI_ON;
  RCC_OscInitStruct.HSICalibrationValue = RCC_HSICALIBRATION_DEFAULT;
  RCC_OscInitStruct.PLL.PLLState = RCC_PLL_NONE;
  RCC_OscInitStruct.PLL.PLLSource = RCC_PLLSOURCE_HSE;
  if (HAL_RCC_OscConfig(&RCC_OscInitStruct) != HAL_OK)
  {
    Error_Handler();
  }

  /** Initializes the CPU, AHB and APB buses clocks
  */
  RCC_ClkInitStruct.ClockType = RCC_CLOCKTYPE_HCLK|RCC_CLOCKTYPE_SYSCLK
                              |RCC_CLOCKTYPE_PCLK1|RCC_CLOCKTYPE_PCLK2;
  RCC_ClkInitStruct.SYSCLKSource = RCC_SYSCLKSOURCE_HSI;
  RCC_ClkInitStruct.AHBCLKDivider = RCC_SYSCLK_DIV1;
  RCC_ClkInitStruct.APB1CLKDivider = RCC_HCLK_DIV1;
  RCC_ClkInitStruct.APB2CLKDivider = RCC_HCLK_DIV1;

  if (HAL_RCC_ClockConfig(&RCC_ClkInitStruct, FLASH_LATENCY_0) != HAL_OK)
  {
    Error_Handler();
  }
}

void PeriphCommonClock_Config(void)
{
  RCC_PeriphCLKInitTypeDef PeriphClkInitStruct = {0};

  /** Initializes the peripherals clock
  */
  PeriphClkInitStruct.PeriphClockSelection = RCC_PERIPHCLK_I2S_APB1|RCC_PERIPHCLK_I2S_APB2;
  PeriphClkInitStruct.PLLI2S.PLLI2SN = 192;
  PeriphClkInitStruct.PLLI2S.PLLI2SP = RCC_PLLI2SP_DIV2;
  PeriphClkInitStruct.PLLI2S.PLLI2SM = 16;
  PeriphClkInitStruct.PLLI2S.PLLI2SR = 2;
  PeriphClkInitStruct.PLLI2S.PLLI2SQ = 2;
  PeriphClkInitStruct.PLLI2SDivQ = 1;
  PeriphClkInitStruct.I2sApb2ClockSelection = RCC_I2SAPB2CLKSOURCE_PLLI2S;
  PeriphClkInitStruct.I2sApb1ClockSelection = RCC_I2SAPB1CLKSOURCE_PLLI2S;
  if (HAL_RCCEx_PeriphCLKConfig(&PeriphClkInitStruct) != HAL_OK)
  {
    Error_Handler();
  }
}

static void MX_ADC1_Init(void)
{

  ADC_ChannelConfTypeDef sConfig = {0};

  /** Configure the global features of the ADC (Clock, Resolution, Data Alignment and number of conversion)
  */
  hadc1.Instance = ADC1;
  hadc1.Init.ClockPrescaler = ADC_CLOCK_SYNC_PCLK_DIV2;
  hadc1.Init.Resolution = ADC_RESOLUTION_12B;
  hadc1.Init.ScanConvMode = DISABLE;
  hadc1.Init.ContinuousConvMode = DISABLE;
  hadc1.Init.DiscontinuousConvMode = DISABLE;
  hadc1.Init.ExternalTrigConvEdge = ADC_EXTERNALTRIGCONVEDGE_NONE;
  hadc1.Init.ExternalTrigConv = ADC_SOFTWARE_START;
  hadc1.Init.DataAlign = ADC_DATAALIGN_RIGHT;
  hadc1.Init.NbrOfConversion = 1;
  hadc1.Init.DMAContinuousRequests = DISABLE;
  hadc1.Init.EOCSelection = ADC_EOC_SINGLE_CONV;
  if (HAL_ADC_Init(&hadc1) != HAL_OK)
  {
    Error_Handler();
  }

  /** Configure for the selected ADC regular channel its corresponding rank in the sequencer and its sample time.
  */
  sConfig.Channel = ADC_CHANNEL_0;
  sConfig.Rank = 1;
  sConfig.SamplingTime = ADC_SAMPLETIME_3CYCLES;
  if (HAL_ADC_ConfigChannel(&hadc1, &sConfig) != HAL_OK)
  {
    Error_Handler();
  }

}

static void MX_I2C1_Init(void)
{

  hi2c1.Instance = I2C1;
  hi2c1.Init.ClockSpeed = 100000;
  hi2c1.Init.DutyCycle = I2C_DUTYCYCLE_2;
  hi2c1.Init.OwnAddress1 = 0;
  hi2c1.Init.AddressingMode = I2C_ADDRESSINGMODE_7BIT;
  hi2c1.Init.DualAddressMode = I2C_DUALADDRESS_DISABLE;
  hi2c1.Init.OwnAddress2 = 0;
  hi2c1.Init.GeneralCallMode = I2C_GENERALCALL_DISABLE;
  hi2c1.Init.NoStretchMode = I2C_NOSTRETCH_DISABLE;
  if (HAL_I2C_Init(&hi2c1) != HAL_OK)
  {
    Error_Handler();
  }

}

static void MX_I2S1_Init(void)
{

  hi2s1.Instance = SPI1;
  hi2s1.Init.Mode = I2S_MODE_MASTER_TX;
  hi2s1.Init.Standard = I2S_STANDARD_PHILIPS;
  hi2s1.Init.DataFormat = I2S_DATAFORMAT_16B;
  hi2s1.Init.MCLKOutput = I2S_MCLKOUTPUT_DISABLE;
  hi2s1.Init.AudioFreq = I2S_AUDIOFREQ_8K;
  hi2s1.Init.CPOL = I2S_CPOL_LOW;
  hi2s1.Init.ClockSource = I2S_CLOCK_PLL;
  hi2s1.Init.FullDuplexMode = I2S_FULLDUPLEXMODE_DISABLE;
  if (HAL_I2S_Init(&hi2s1) != HAL_OK)
  {
    Error_Handler();
  }

}

static void MX_I2S2_Init(void)
{

  hi2s2.Instance = SPI2;
  hi2s2.Init.Mode = I2S_MODE_MASTER_TX;
  hi2s2.Init.Standard = I2S_STANDARD_PHILIPS;
  hi2s2.Init.DataFormat = I2S_DATAFORMAT_16B;
  hi2s2.Init.MCLKOutput = I2S_MCLKOUTPUT_DISABLE;
  hi2s2.Init.AudioFreq = I2S_AUDIOFREQ_8K;
  hi2s2.Init.CPOL = I2S_CPOL_LOW;
  hi2s2.Init.ClockSource = I2S_CLOCK_PLL;
  hi2s2.Init.FullDuplexMode = I2S_FULLDUPLEXMODE_DISABLE;
  if (HAL_I2S_Init(&hi2s2) != HAL_OK)
  {
    Error_Handler();
  }

}

static void MX_I2S3_Init(void)
{

  hi2s3.Instance = SPI3;
  hi2s3.Init.Mode = I2S_MODE_MASTER_TX;
  hi2s3.Init.Standard = I2S_STANDARD_PHILIPS;
  hi2s3.Init.DataFormat = I2S_DATAFORMAT_16B;
  hi2s3.Init.MCLKOutput = I2S_MCLKOUTPUT_DISABLE;
  hi2s3.Init.AudioFreq = I2S_AUDIOFREQ_8K;
  hi2s3.Init.CPOL = I2S_CPOL_LOW;
  hi2s3.Init.ClockSource = I2S_CLOCK_PLL;
  hi2s3.Init.FullDuplexMode = I2S_FULLDUPLEXMODE_DISABLE;
  if (HAL_I2S_Init(&hi2s3) != HAL_OK)
  {
    Error_Handler();
  }

}

static void MX_GPIO_Init(void)
{
  GPIO_InitTypeDef GPIO_InitStruct = {0};

  /* GPIO Ports Clock Enable */
  __HAL_RCC_GPIOH_CLK_ENABLE();
  __HAL_RCC_GPIOC_CLK_ENABLE();
  __HAL_RCC_GPIOA_CLK_ENABLE();
  __HAL_RCC_GPIOB_CLK_ENABLE();

  /*Configure GPIO pin Output Level */
  HAL_GPIO_WritePin(GPIOA, GPIO_PIN_12|GPIO_PIN_13, GPIO_PIN_RESET);

  /*Configure GPIO pins : PA10 PA11 */
  GPIO_InitStruct.Pin = GPIO_PIN_10|GPIO_PIN_11;
  GPIO_InitStruct.Mode = GPIO_MODE_INPUT;
  GPIO_InitStruct.Pull = GPIO_NOPULL;
  HAL_GPIO_Init(GPIOA, &GPIO_InitStruct);

  /*Configure GPIO pins : PA12 PA13 */
  GPIO_InitStruct.Pin = GPIO_PIN_12|GPIO_PIN_13;
  GPIO_InitStruct.Mode = GPIO_MODE_OUTPUT_PP;
  GPIO_InitStruct.Pull = GPIO_NOPULL;
  GPIO_InitStruct.Speed = GPIO_SPEED_FREQ_LOW;
  HAL_GPIO_Init(GPIOA, &GPIO_InitStruct);

}

void Error_Handler(void)
{
  __disable_irq();
  while (1)
  {
  }
}
